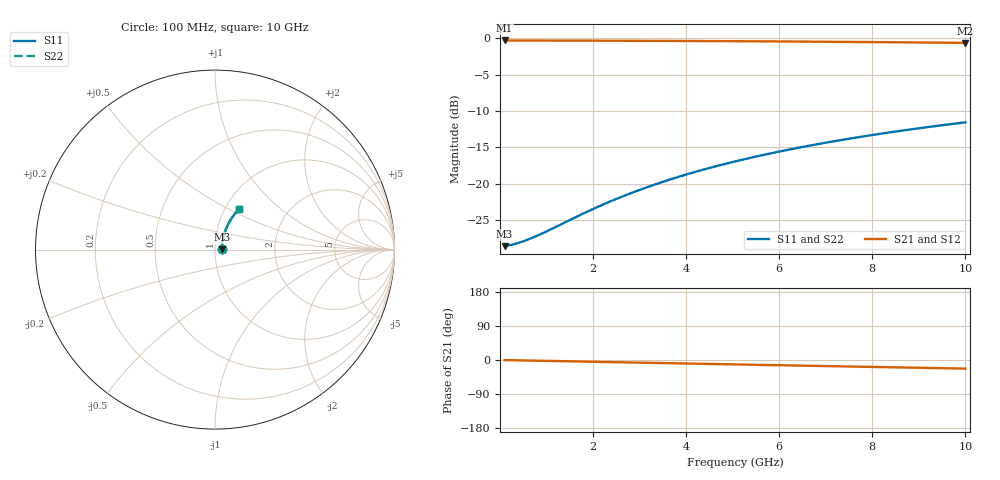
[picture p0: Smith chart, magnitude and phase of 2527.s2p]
# Hz S RI R 50.00
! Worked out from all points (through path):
!   100 points, 100 MHz to 10 GHz, reference 50 ohm
!   highest |S21| = -0.33 dB at 100 MHz (marker M1); lowest = -0.7 dB at 10 GHz (marker M2)
!   group delay of S21, straight-line fit = 6.31 ps
!   lowest |S11| = -28.5 dB at 100 MHz (marker M3), VSWR 1.08, Z = 53.9 + j0.281 ohm
!   |S11| at or under -10 dB: start of sweep to end of sweep
!   |S22| runs from -28.5 to -11.6 dB; largest |S21 - S12| = 0
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1e8  0.0373 0.0026  0.9627 -0.00391  0.9627 -0.00391  0.0373 0.0026
3e8  0.0378 0.0078  0.9622 -0.0117  0.9622 -0.0117  0.0378 0.0078
4e8  0.038 0.0104  0.962 -0.0156  0.962 -0.0156  0.038 0.0104
5e8  0.0382 0.013  0.9618 -0.0195  0.9618 -0.0195  0.0382 0.013
7e8  0.0387 0.0182  0.9613 -0.0273  0.9613 -0.0273  0.0387 0.0182
1e9  0.0394 0.0259  0.9605 -0.039  0.9605 -0.039  0.0394 0.0259
1.8e9  0.0422 0.0465  0.9575 -0.0699  0.9575 -0.0699  0.0422 0.0465
2.2e9  0.0441 0.0566  0.9555 -0.0853  0.9555 -0.0853  0.0441 0.0566
2.6e9  0.0462 0.0667  0.9531 -0.1006  0.9531 -0.1006  0.0462 0.0667
3e9  0.0487 0.0768  0.9505 -0.1159  0.9505 -0.1159  0.0487 0.0768
3.4e9  0.0515 0.0867  0.9475 -0.131  0.9475 -0.131  0.0515 0.0867
3.8e9  0.0545 0.0965  0.9442 -0.146  0.9442 -0.146  0.0545 0.0965
4.2e9  0.0579 0.1061  0.9405 -0.1609  0.9405 -0.1609  0.0579 0.1061
4.6e9  0.0616 0.1157  0.9365 -0.1757  0.9365 -0.1757  0.0616 0.1157
5.1e9  0.0666 0.1274  0.9311 -0.1939  0.9311 -0.1939  0.0666 0.1274
5.5e9  0.0709 0.1366  0.9265 -0.2084  0.9265 -0.2084  0.0709 0.1366
5.9e9  0.0754 0.1456  0.9215 -0.2226  0.9215 -0.2226  0.0754 0.1456
6.7e9  0.0854 0.1631  0.9106 -0.2506  0.9106 -0.2506  0.0854 0.1631
7.5e9  0.0964 0.1798  0.8987 -0.2778  0.8987 -0.2778  0.0964 0.1798
8.4e9  0.1098 0.1976  0.884 -0.3075  0.884 -0.3075  0.1098 0.1976
9.2e9  0.1226 0.2124  0.8699 -0.3328  0.8699 -0.3328  0.1226 0.2124
1e10  0.1362 0.2264  0.8549 -0.3573  0.8549 -0.3573  0.1362 0.2264
